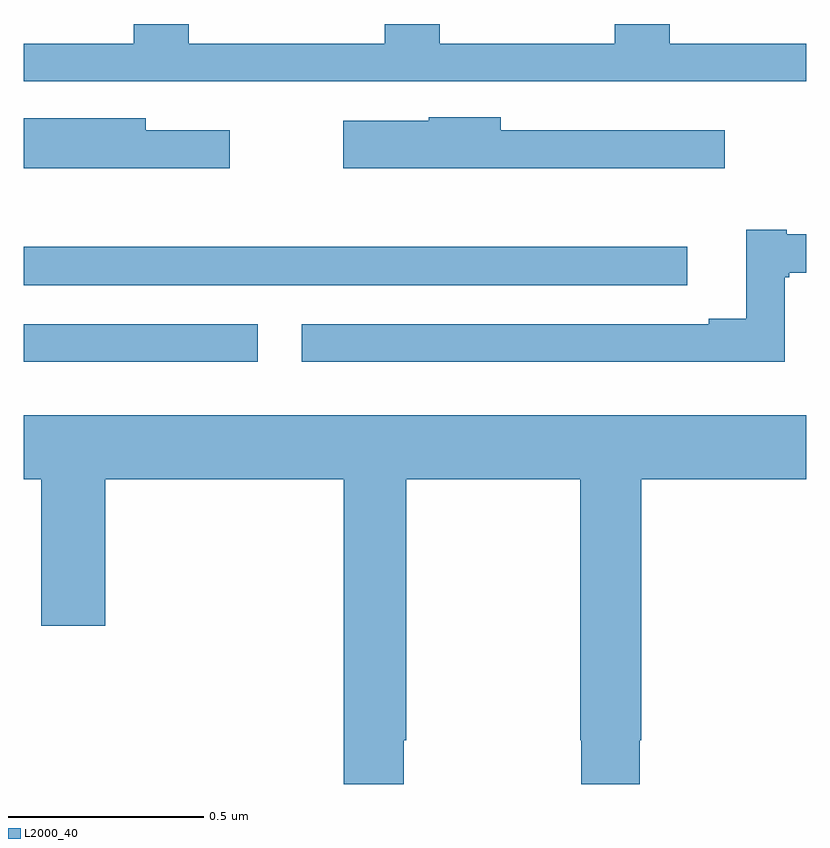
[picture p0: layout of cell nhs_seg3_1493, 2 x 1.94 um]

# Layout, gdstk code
import gdstk
lib = gdstk.Library(unit=1e-6, precision=1e-09)
def R(c, l, rs):  # rectangles x0, y0, x1, y1
    for r in rs: c.add(gdstk.rectangle(r[:2], r[2:], *l))
def P(c, l, *ps):  # polygons
    for p in ps: c.add(gdstk.Polygon(p, *l))
L2000_40 = (2000, 40)

nhs_seg3_1493 = lib.new_cell('nhs_seg3_1493')
R(nhs_seg3_1493, L2000_40, [(129,714.536,129.598,714.633), (129,714.732,130.696,714.83)])
P(nhs_seg3_1493, L2000_40, [(131,715.35),(130.651,715.35),(130.651,715.4),(130.511,715.4),(130.511,715.35),(130.063,715.35),(130.063,715.4),(129.923,715.4),(129.923,715.35),(129.421,715.35),(129.421,715.4),(129.281,715.4),(129.281,715.35),(129,715.35),(129,715.254),(131,715.254)],
  [(130.792,715.128),(130.219,715.128),(130.219,715.162),(130.035,715.162),(130.035,715.153),(129.816,715.153),(129.816,715.031),(130.792,715.031)],
  [(129.526,715.128),(129.312,715.128),(129.312,715.159),(129,715.159),(129,715.031),(129.526,715.031)],
  [(130.945,714.753),(130.957,714.753),(130.957,714.764),(131,714.764),(131,714.862),(130.951,714.862),(130.951,714.874),(130.847,714.874),(130.847,714.646),(130.751,714.646),(130.751,714.633),(129.711,714.633),(129.711,714.536),(130.945,714.536)],
  [(129.971,713.569),(129.977,713.569),(129.977,714.236),(130.423,714.236),(130.423,713.569),(130.425,713.569),(130.425,713.457),(130.575,713.457),(130.575,713.569),(130.578,713.569),(130.578,714.236),(131,714.236),(131,714.4),(129,714.4),(129,714.236),(129.044,714.236),(129.044,713.862),(129.208,713.862),(129.208,714.236),(129.818,714.236),(129.818,713.457),(129.971,713.457)])

lib.write_gds('nhs_seg3_1493.gds')
